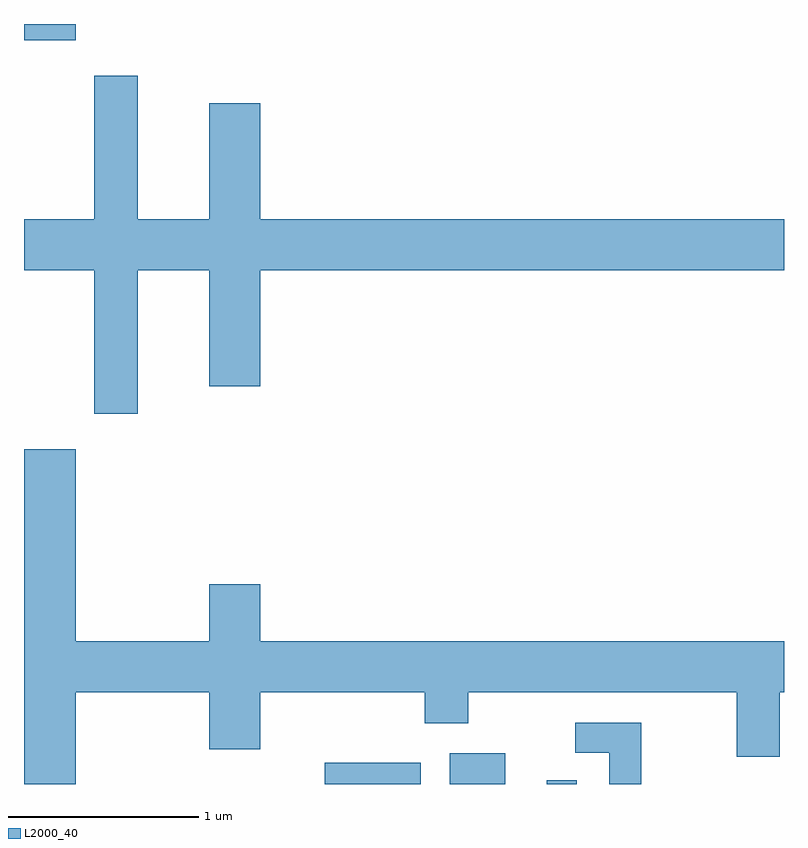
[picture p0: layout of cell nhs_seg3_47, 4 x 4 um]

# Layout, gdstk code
import gdstk
lib = gdstk.Library(unit=1e-6, precision=1e-09)
def R(c, l, rs):  # rectangles x0, y0, x1, y1
    for r in rs: c.add(gdstk.rectangle(r[:2], r[2:], *l))
def P(c, l, *ps):  # polygons
    for p in ps: c.add(gdstk.Polygon(p, *l))
L2000_40 = (2000, 40)

nhs_seg3_47 = lib.new_cell('nhs_seg3_47')
R(nhs_seg3_47, L2000_40, [(187.193,1209.892,187.699,1210.004), (187.851,1209.892,188.144,1210.054), (188.361,1209.892,188.519,1209.913), (185.611,1213.806,185.884,1213.892)])
P(nhs_seg3_47, L2000_40, [(186.209,1212.596),(186.586,1212.596),(186.586,1211.986),(186.854,1211.986),(186.854,1212.596),(189.611,1212.596),(189.611,1212.864),(186.854,1212.864),(186.854,1213.474),(186.586,1213.474),(186.586,1212.864),(186.209,1212.864),(186.209,1213.619),(185.981,1213.619),(185.981,1212.864),(185.611,1212.864),(185.611,1212.596),(185.981,1212.596),(185.981,1211.841),(186.209,1211.841)],
  [(185.884,1210.376),(186.586,1210.376),(186.586,1210.076),(186.854,1210.076),(186.854,1210.376),(187.721,1210.376),(187.721,1210.211),(187.949,1210.211),(187.949,1210.376),(189.361,1210.376),(189.361,1210.036),(189.589,1210.036),(189.589,1210.376),(189.611,1210.376),(189.611,1210.644),(186.854,1210.644),(186.854,1210.944),(186.586,1210.944),(186.586,1210.644),(185.884,1210.644),(185.884,1211.654),(185.611,1211.654),(185.611,1209.892),(185.884,1209.892)],
  [(188.859,1210.214),(188.513,1210.214),(188.513,1210.056),(188.691,1210.056),(188.691,1209.892),(188.859,1209.892)])

lib.write_gds('nhs_seg3_47.gds')
